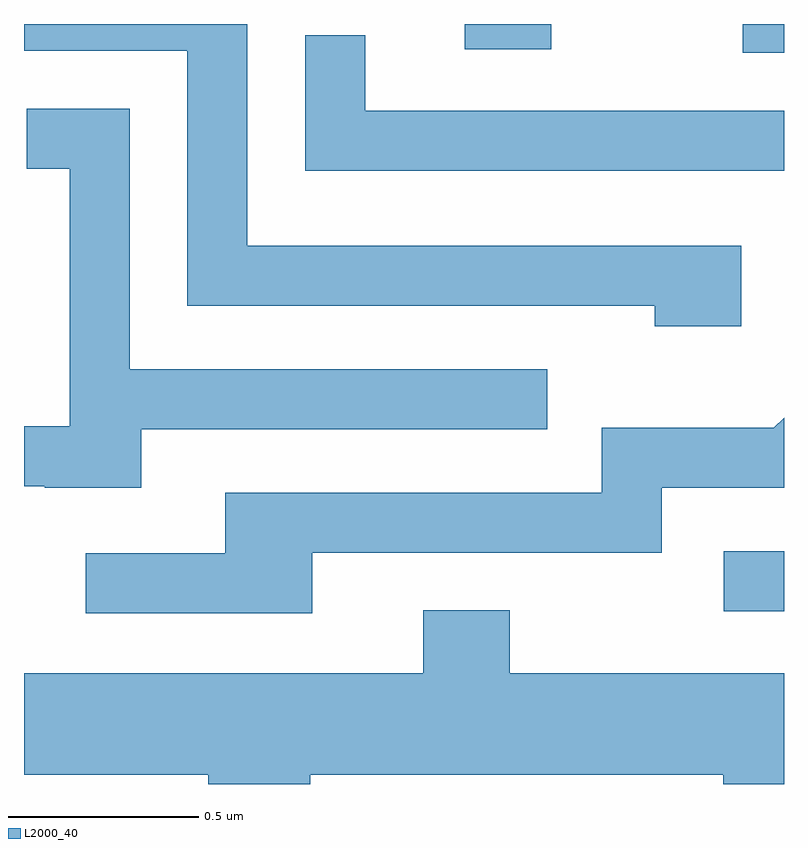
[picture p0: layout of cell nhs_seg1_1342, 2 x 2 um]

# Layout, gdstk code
import gdstk
lib = gdstk.Library(unit=1e-6, precision=1e-09)
def R(c, l, rs):  # rectangles x0, y0, x1, y1
    for r in rs: c.add(gdstk.rectangle(r[:2], r[2:], *l))
def P(c, l, *ps):  # polygons
    for p in ps: c.add(gdstk.Polygon(p, *l))
L2000_40 = (2000, 40)

nhs_seg1_1342 = lib.new_cell('nhs_seg1_1342')
R(nhs_seg1_1342, L2000_40, [(196.453,962.166,196.611,962.324), (196.503,963.636,196.611,963.712), (195.771,963.646,195.999,963.712)])
P(nhs_seg1_1342, L2000_40, [(196.499,963.129),(195.199,963.129),(195.199,963.712),(194.611,963.712),(194.611,963.641),(195.041,963.641),(195.041,962.971),(196.271,962.971),(196.271,962.916),(196.499,962.916)],
  [(196.611,963.484),(195.509,963.484),(195.509,963.683),(195.351,963.683),(195.351,963.326),(196.611,963.326)],
  [(194.919,962.646),(195.988,962.646),(195.988,962.804),(194.889,962.804),(194.889,963.489),(194.618,963.489),(194.618,963.331),(194.731,963.331),(194.731,962.654),(194.611,962.654),(194.611,962.496),(194.665,962.496),(194.665,962.491),(194.919,962.491)],
  [(195.369,962.321),(196.289,962.321),(196.289,962.491),(196.611,962.491),(196.611,962.676),(196.584,962.649),(196.131,962.649),(196.131,962.479),(195.141,962.479),(195.141,962.319),(194.773,962.319),(194.773,962.161),(195.369,962.161)],
  [(195.364,961.736),(196.451,961.736),(196.451,961.712),(196.611,961.712),(196.611,962.004),(195.889,962.004),(195.889,962.169),(195.661,962.169),(195.661,962.004),(194.611,962.004),(194.611,961.736),(195.096,961.736),(195.096,961.712),(195.364,961.712)])

lib.write_gds('nhs_seg1_1342.gds')
